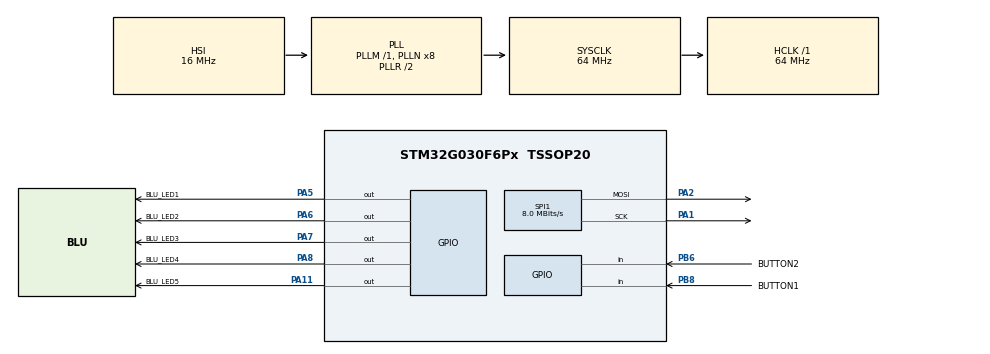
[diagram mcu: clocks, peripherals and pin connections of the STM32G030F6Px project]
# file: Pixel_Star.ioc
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Dma.Request0=SPI1_TX
Dma.SPI1_TX.0.Direction=DMA_MEMORY_TO_PERIPH
Dma.SPI1_TX.0.EventEnable=DISABLE
Dma.SPI1_TX.0.Instance=DMA1_Channel1
Dma.SPI1_TX.0.MemDataAlignment=DMA_MDATAALIGN_BYTE
Dma.SPI1_TX.0.MemInc=DMA_MINC_ENABLE
Dma.SPI1_TX.0.Mode=DMA_NORMAL
Dma.SPI1_TX.0.PeriphDataAlignment=DMA_PDATAALIGN_BYTE
Dma.SPI1_TX.0.PeriphInc=DMA_PINC_DISABLE
Dma.SPI1_TX.0.Polarity=HAL_DMAMUX_REQ_GEN_RISING
Dma.SPI1_TX.0.Priority=DMA_PRIORITY_HIGH
Dma.SPI1_TX.0.RequestNumber=1
Dma.SPI1_TX.0.SignalID=NONE
Dma.SPI1_TX.0.SyncEnable=DISABLE
Dma.SPI1_TX.0.SyncPolarity=HAL_DMAMUX_SYNC_NO_EVENT
Dma.SPI1_TX.0.SyncRequestNumber=1
Dma.SPI1_TX.0.SyncSignalID=NONE
Mcu.Family=STM32G0
Mcu.Name=STM32G030F6Px
Mcu.Package=TSSOP20
NVIC.DMA1_Channel1_IRQn=true\:0\:0\:false\:false\:true\:false\:true\:true
NVIC.SPI1_IRQn=true\:0\:0\:false\:false\:true\:true\:true\:true
NVIC.TIM17_IRQn=true\:0\:0\:false\:false\:true\:true\:true\:true
PA1.Mode=TX_Only_Simplex_Unidirect_Master
PA1.Signal=SPI1_SCK
PA11\ [PA9].GPIO_Label=BLU_LED5
PA11\ [PA9].Signal=GPIO_Output
PA13.Mode=Serial_Wire
PA13.Signal=SYS_SWDIO
PA14-BOOT0.Mode=Serial_Wire
PA14-BOOT0.Signal=SYS_SWCLK
PA14-BOOT0__PA15.StandardMode=true
PA2.Mode=TX_Only_Simplex_Unidirect_Master
PA2.Signal=SPI1_MOSI
PA5.GPIO_Label=BLU_LED1
PA5.Signal=GPIO_Output
PA6.GPIO_Label=BLU_LED2
PA6.Signal=GPIO_Output
PA7.GPIO_Label=BLU_LED3
PA7.Signal=GPIO_Output
PA8.GPIO_Label=BLU_LED4
PA8.Signal=GPIO_Output
PB0__PB1__PB2__PA8.StandardMode=true
PB3__PB4__PB5__PB6.StandardMode=true
PB6.GPIO_Label=BUTTON2
PB6.Signal=GPIO_Input
PB7__PB8.StandardMode=true
PB8.GPIO_Label=BUTTON1
PB8.Signal=GPIO_Input
PC14-OSC32_IN\ (PC14)__PB9.StandardMode=true
ProjectManager.HeapSize=0x200
ProjectManager.StackSize=0x400
ProjectManager.TargetToolchain=STM32CubeIDE
RCC.ADCFreq_Value=64000000
RCC.AHBFreq_Value=64000000
RCC.CortexFreq_Value=64000000
RCC.EXTERNAL_CLOCK_VALUE=12288000
RCC.HCLKFreq_Value=64000000
RCC.HSE_VALUE=8000000
RCC.HSI_VALUE=16000000
RCC.LSE_VALUE=32768
RCC.SYSCLKFreq_VALUE=64000000
RCC.SYSCLKSource=RCC_SYSCLKSOURCE_PLLCLK
RCC.VCOOutputFreq_Value=128000000
SPI1.BaudRatePrescaler=SPI_BAUDRATEPRESCALER_8
SPI1.CLKPolarity=SPI_POLARITY_LOW
SPI1.CalculateBaudRate=8.0 MBits/s
SPI1.Direction=SPI_DIRECTION_2LINES
SPI1.FirstBit=SPI_FIRSTBIT_MSB
SPI1.Mode=SPI_MODE_MASTER
SPI1.NSSPMode=SPI_NSS_PULSE_DISABLE
SPI1.VirtualType=VM_MASTER
TIM17.Period=64-1
TIM17.Prescaler=1000-1
VP_TIM17_VS_ClockSourceINT.Mode=Enable_Timer
board=custom

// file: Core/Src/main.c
/* USER CODE BEGIN Header */
/**
  ******************************************************************************
  * @file           : main.c
  * @brief          : Main program body
  ******************************************************************************
  * @attention
  *
  * Copyright (c) 2022 STMicroelectronics.
  * All rights reserved.
  *
  * This software is licensed under terms that can be found in the LICENSE file
  * in the root directory of this software component.
  * If no LICENSE file comes with this software, it is provided AS-IS.
  *
  ******************************************************************************
  */
/* USER CODE END Header */
#include "main.h"
#include "dma.h"
#include "spi.h"
#include "tim.h"
#include "gpio.h"

/* USER CODE BEGIN Includes */
#include "leds.h"
/* USER CODE END Includes */

void SystemClock_Config(void);

int main(void)
{

  /* MCU Configuration--------------------------------------------------------*/

  /* Reset of all peripherals, Initializes the Flash interface and the Systick. */
  HAL_Init();

  /* Configure the system clock */
  SystemClock_Config();

  /* Initialize all configured peripherals */
  MX_GPIO_Init();
  MX_DMA_Init();
  MX_SPI1_Init();
  MX_TIM17_Init();

  /* Infinite loop */
  /* USER CODE BEGIN WHILE */

  ws2813_init(hspi1);

  int8_t effectNumber = 0;				// used to switch between different effects (animations)
  uint32_t lastButton1PressTick = 0;	// last button press occured at X - used to filter out bouncing
  uint32_t lastButton2PressTick = 0;	// last button press occured at X - used to filter out bouncing
  uint8_t lastButton1State = 0;
  uint8_t lastButtonState = 0;

  while (1)
  {
	  HAL_Delay(1000/50);

	  // Handle buttons and effect changes
	  if (!HAL_GPIO_ReadPin(BUTTON1_GPIO_Port, BUTTON1_Pin))
	  {
		  if ((uint32_t)((HAL_GetTick() - lastButton1PressTick)) > 200)
		  {
			  lastButton1PressTick = HAL_GetTick();

			  effectNumber++;
		  }
	  }

	  if (!HAL_GPIO_ReadPin(BUTTON2_GPIO_Port, BUTTON2_Pin))
	  {
		  if ((uint32_t)((HAL_GetTick() - lastButton2PressTick)) > 200)
		  {
			  lastButton2PressTick = HAL_GetTick();

			  effectNumber--;
		  }
	  }

	  if (effectNumber > 5)
	  {
		  effectNumber = 0;
	  }

	  if (effectNumber < 0)
	  {
		  effectNumber = 5;
	  }

	  // WS2813 test
	  ws2813_clearAllLed();	// Set all LEDs to 0

	  switch(effectNumber)
	  {
	  case 5:
		  led_effect_5();
		  break;

	  case 4:
		  led_effect_4();
		  break;

	  case 3:
		  led_effect_3();
		  break;

	  case 2:
		  led_effect_2();
		  break;

	  case 1:
		  led_effect_1();
		  break;

	  case 0:
	  default:
		  led_effect_0();
		  break;
	  }

	  ws2813_sendLEDs();

    /* USER CODE END WHILE */

  }
}

void SystemClock_Config(void)
{
  RCC_OscInitTypeDef RCC_OscInitStruct = {0};
  RCC_ClkInitTypeDef RCC_ClkInitStruct = {0};

  /** Configure the main internal regulator output voltage
  */
  HAL_PWREx_ControlVoltageScaling(PWR_REGULATOR_VOLTAGE_SCALE1);

  /** Initializes the RCC Oscillators according to the specified parameters
  * in the RCC_OscInitTypeDef structure.
  */
  RCC_OscInitStruct.OscillatorType = RCC_OSCILLATORTYPE_HSI;
  RCC_OscInitStruct.HSIState = RCC_HSI_ON;
  RCC_OscInitStruct.HSIDiv = RCC_HSI_DIV1;
  RCC_OscInitStruct.HSICalibrationValue = RCC_HSICALIBRATION_DEFAULT;
  RCC_OscInitStruct.PLL.PLLState = RCC_PLL_ON;
  RCC_OscInitStruct.PLL.PLLSource = RCC_PLLSOURCE_HSI;
  RCC_OscInitStruct.PLL.PLLM = RCC_PLLM_DIV1;
  RCC_OscInitStruct.PLL.PLLN = 8;
  RCC_OscInitStruct.PLL.PLLP = RCC_PLLP_DIV2;
  RCC_OscInitStruct.PLL.PLLR = RCC_PLLR_DIV2;
  if (HAL_RCC_OscConfig(&RCC_OscInitStruct) != HAL_OK)
  {
    Error_Handler();
  }

  /** Initializes the CPU, AHB and APB buses clocks
  */
  RCC_ClkInitStruct.ClockType = RCC_CLOCKTYPE_HCLK|RCC_CLOCKTYPE_SYSCLK
                              |RCC_CLOCKTYPE_PCLK1;
  RCC_ClkInitStruct.SYSCLKSource = RCC_SYSCLKSOURCE_PLLCLK;
  RCC_ClkInitStruct.AHBCLKDivider = RCC_SYSCLK_DIV1;
  RCC_ClkInitStruct.APB1CLKDivider = RCC_HCLK_DIV1;

  if (HAL_RCC_ClockConfig(&RCC_ClkInitStruct, FLASH_LATENCY_2) != HAL_OK)
  {
    Error_Handler();
  }
}

void Error_Handler(void)
{
  __disable_irq();
  while (1)
  {
  }
}
